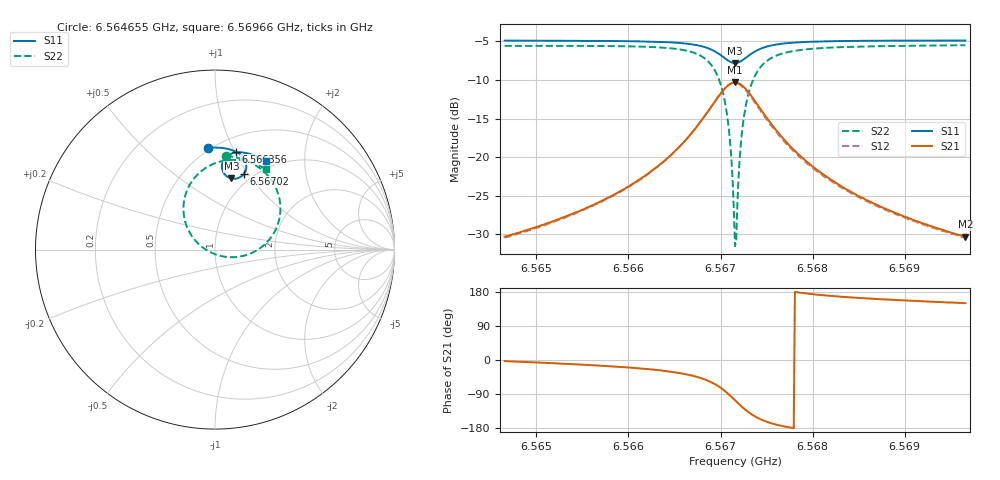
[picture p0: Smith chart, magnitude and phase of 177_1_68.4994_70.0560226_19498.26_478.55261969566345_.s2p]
#  HZ  S  RI  R  50.00
! Rohde & Schwarz Vector Network Analyzer
! Rohde-Schwarz,ZNB20-2Port,1311601062101988,3.16
! Created: UTC 3/20/2024, 5:11:40 PM
! freq[Hz]  re:S11  im:S11  re:S21  im:S21  re:S12  im:S12  re:S22  im:S22
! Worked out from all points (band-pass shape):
!   401 points, 6.564655 GHz to 6.56966 GHz, reference 50 ohm
!   highest |S21| = -10.32 dB at 6.567157 GHz (marker M1); lowest = -30.3 dB at 6.56966 GHz (marker M2)
!   |S21| within 3 dB of the highest: 6.566908 GHz to 6.567408 GHz (500 kHz wide, 0.00761 % of centre)
!   lowest |S11| = -7.8 dB at 6.567157 GHz (marker M3), VSWR 2.37, Z = 42.5 + j40.3 ohm
!   |S11| at or under -10 dB: nowhere
!   |S22| runs from -31.6 to -5.5 dB; largest |S21 - S12| = 0.015
!   S11 on the Smith chart (normalised r, x): 6.564655 GHz: 0.48, +0.81; 6.566356 GHz: 0.64, +1.01; 6.56702 GHz: 0.90, +0.95; 6.56966 GHz: 0.89, +1.31
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6.5646547e9  -0.0398 0.5676  0.0305 -0.00151  0.0298 -0.00202  0.0614 0.5224
6.5654931e9  0.0301 0.5668  0.0443 -0.00959  0.0437 -0.0102  0.1442 0.5059
6.5663314e9  0.1117 0.5479  0.0788 -0.0401  0.0776 -0.0411  0.2645 0.4416
6.5663565e9  0.1145 0.5465  0.0804 -0.0422  0.0793 -0.0432  0.2692 0.4375
6.5666318e9  0.1483 0.5239  0.1033 -0.0804  0.1017 -0.0822  0.3298 0.3623
6.5668195e9  0.1705 0.4901  0.1154 -0.1395  0.1127 -0.1425  0.364 0.2484
6.5669321e9  0.1743 0.4551  0.1036 -0.2008  0.0984 -0.205  0.3467 0.1314
6.5670197e9  0.1601 0.4211  0.0623 -0.2591  0.0531 -0.2625  0.2705 0.0228
6.5670572e9  0.1464 0.4079  0.0308 -0.2808  0.0195 -0.2827  0.2116 -0.0156
6.5670947e9  0.1281 0.3983  -0.00906 -0.2951  -0.0219 -0.2944  0.1382 -0.0388
6.5671198e9  0.114 0.3952  -0.0389 -0.2985  -0.0525 -0.2957  0.0839 -0.0423
6.5671448e9  0.0989 0.3952  -0.0699 -0.296  -0.0832 -0.2907  0.0288 -0.0345
6.5671573e9  0.0914 0.3963  -0.0851 -0.2925  -0.0983 -0.2859  0.00206 -0.0263
6.5671823e9  0.0773 0.4013  -0.1141 -0.2809  -0.1261 -0.2721  -0.0481 -0.00213
6.5672199e9  0.0592 0.4139  -0.1511 -0.2542  -0.1606 -0.243  -0.1093 0.0498
6.5672574e9  0.0467 0.4303  -0.1774 -0.2209  -0.1837 -0.2083  -0.1501 0.1122
6.5673075e9  0.0389 0.4543  -0.1956 -0.1741  -0.198 -0.1616  -0.1742 0.1967
6.56737e9  0.0406 0.4808  -0.1979 -0.1225  -0.1971 -0.1118  -0.1693 0.2868
6.5675953e9  0.08 0.5299  -0.1494 -0.0264  -0.1459 -0.0219  -0.0627 0.4476
6.5679957e9  0.141 0.5422  -0.0869 0.0094  -0.0847 0.0109  0.0746 0.4986
6.5688341e9  0.2225 0.5236  -0.0421 0.016  -0.0411 0.0163  0.2064 0.4831
6.5696599e9  0.2851 0.4945  -0.0264 0.0152  -0.0257 0.0152  0.2832 0.4498
